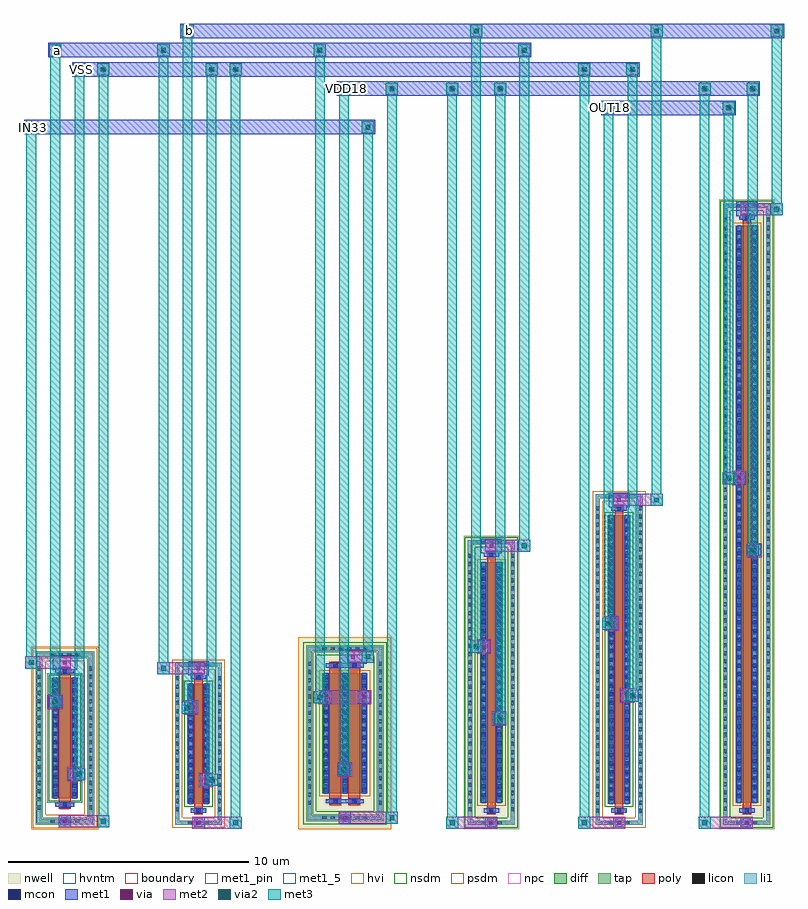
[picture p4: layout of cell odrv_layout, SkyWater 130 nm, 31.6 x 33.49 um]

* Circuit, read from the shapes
.subckt odrv_layout IN33 OUT18 VDD18 VSS a b
XM1 VSS IN33 a VSS sky130_fd_pr__nfet_g5v0d10v5 w=5 l=0.5
XM2 VSS a b VSS sky130_fd_pr__nfet_01v8 w=5 l=0.35
XM3 VSS b OUT18 VSS sky130_fd_pr__nfet_01v8 w=12 l=0.35
XM4 VDD18 IN33 a VDD18 sky130_fd_pr__pfet_g5v0d10v5 w=5 l=0.5 m=2
XM5 VDD18 a b VDD18 sky130_fd_pr__pfet_01v8 w=10 l=0.35
XM6 VDD18 b OUT18 VDD18 sky130_fd_pr__pfet_01v8 w=24 l=0.35
.ends

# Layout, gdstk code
import gdstk
lib = gdstk.Library(unit=1e-6, precision=1e-09)
def R(c, l, rs):  # rectangles x0, y0, x1, y1
    for r in rs: c.add(gdstk.rectangle(r[:2], r[2:], *l))
def A(c, l, x, y, w, h, nx, ny, dx, dy):  # array of equal rectangles
    R(c, l, [(x+i*dx, y+j*dy, x+i*dx+w, y+j*dy+h) for i in range(nx) for j in range(ny)])
nwell = (64, 20)
diff = (65, 20)
tap = (65, 44)
poly = (66, 20)
licon = (66, 44)
li1 = (67, 20)
mcon = (67, 44)
met1_5 = (68, 5)
met1_pin = (68, 16)
met1 = (68, 20)
via = (68, 44)
met2 = (69, 20)
via2 = (69, 44)
met3 = (70, 20)
hvi = (75, 20)
nsdm = (93, 44)
psdm = (94, 20)
npc = (95, 20)
hvntm = (125, 20)
boundary = (235, 4)

sky130_fd_pr__nfet_g5v0d = lib.new_cell('sky130_fd_pr__nfet_g5v0d10v5_K6WTJS')
R(sky130_fd_pr__nfet_g5v0d, diff, [(-0.54,-2.5,0.54,2.5)])
R(sky130_fd_pr__nfet_g5v0d, tap, [(-1.22,-3.61,1.22,-3.32), (-1.22,-3.32,-0.93,3.32), (0.93,-3.32,1.22,3.32), (-1.22,3.32,1.22,3.61)])
R(sky130_fd_pr__nfet_g5v0d, poly, [(-0.25,-2.94,0.25,2.94)])
A(sky130_fd_pr__nfet_g5v0d, licon, -0.595, -3.55, 0.17, 0.17, 4, 2, 0.34, 6.93)
A(sky130_fd_pr__nfet_g5v0d, licon, -1.16, -2.975, 0.17, 0.17, 1, 18, 0, 0.34)
A(sky130_fd_pr__nfet_g5v0d, licon, 0.99, -2.975, 0.17, 0.17, 1, 18, 0, 0.34)
A(sky130_fd_pr__nfet_g5v0d, licon, -0.48, -2.295, 0.17, 0.17, 1, 14, 0, 0.34)
A(sky130_fd_pr__nfet_g5v0d, licon, 0.31, -2.295, 0.17, 0.17, 1, 14, 0, 0.34)
R(sky130_fd_pr__nfet_g5v0d, licon, [(-0.085,-2.86,0.085,-2.69), (-0.085,2.69,0.085,2.86)])
R(sky130_fd_pr__nfet_g5v0d, li1, [(-1.16,-3.55,1.16,-3.38), (-1.16,-3.38,-0.99,3.38), (0.99,-3.38,1.16,3.38), (-0.395,-2.86,0.395,-2.69), (-0.48,-2.52,-0.31,2.52), (0.31,-2.52,0.48,2.52), (-0.395,2.69,0.395,2.86), (-1.16,3.38,1.16,3.55)])
A(sky130_fd_pr__nfet_g5v0d, mcon, -0.48, -2.425, 0.17, 0.17, 1, 14, 0, 0.36)
A(sky130_fd_pr__nfet_g5v0d, mcon, 0.31, -2.425, 0.17, 0.17, 1, 14, 0, 0.36)
R(sky130_fd_pr__nfet_g5v0d, mcon, [(-0.085,-2.86,0.085,-2.69), (-0.085,2.69,0.085,2.86)])
R(sky130_fd_pr__nfet_g5v0d, met1, [(-0.23,-2.89,0.23,-2.86), (-0.395,-2.86,0.395,-2.69), (-0.23,-2.69,0.23,-2.66), (-0.51,-2.5,-0.28,2.5), (0.28,-2.5,0.51,2.5), (-0.23,2.66,0.23,2.69), (-0.395,2.69,0.395,2.86), (-0.23,2.86,0.23,2.89)])
R(sky130_fd_pr__nfet_g5v0d, hvi, [(-1.405,-3.795,1.405,3.795)])
R(sky130_fd_pr__nfet_g5v0d, nsdm, [(-0.665,-2.625,0.665,2.625)])
R(sky130_fd_pr__nfet_g5v0d, psdm, [(-1.345,-3.735,1.345,-3.195), (-1.345,-3.195,-0.805,3.195), (0.805,-3.195,1.345,3.195), (-1.345,3.195,1.345,3.735)])
R(sky130_fd_pr__nfet_g5v0d, npc, [(-0.185,-2.96,0.185,-2.59), (-0.185,2.59,0.185,2.96)])
R(sky130_fd_pr__nfet_g5v0d, hvntm, [(-0.725,-2.685,0.725,2.685)])
R(sky130_fd_pr__nfet_g5v0d, boundary, [(-1.075,-3.465,1.075,3.465)])
sky130_fd_pr__nfet_g5v0d.add(gdstk.Label('B', (0,-3.465), layer=67, texttype=5))
sky130_fd_pr__nfet_g5v0d.add(gdstk.Label('D', (-0.395,0), layer=67, texttype=5))
sky130_fd_pr__nfet_g5v0d.add(gdstk.Label('S', (0.395,0), layer=67, texttype=5))
sky130_fd_pr__nfet_g5v0d.add(gdstk.Label('G', (0,2.775), layer=67, texttype=5))

sky130_fd_pr__pfet_g5v0d = lib.new_cell('sky130_fd_pr__pfet_g5v0d10v5_T5LBLN')
R(sky130_fd_pr__pfet_g5v0d, nwell, [(-1.935,-3.985,1.935,3.985)])
R(sky130_fd_pr__pfet_g5v0d, diff, [(-0.935,-2.5,0.935,2.5)])
R(sky130_fd_pr__pfet_g5v0d, tap, [(-1.605,-3.655,1.605,-3.365), (-1.605,-3.365,-1.315,3.365), (1.315,-3.365,1.605,3.365), (-1.605,3.365,1.605,3.655)])
R(sky130_fd_pr__pfet_g5v0d, poly, [(-0.645,-2.985,-0.145,2.985), (0.145,-2.985,0.645,2.985)])
A(sky130_fd_pr__pfet_g5v0d, licon, -0.935, -3.595, 0.17, 0.17, 6, 2, 0.34, 7.02)
A(sky130_fd_pr__pfet_g5v0d, licon, -1.545, -2.975, 0.17, 0.17, 1, 18, 0, 0.34)
A(sky130_fd_pr__pfet_g5v0d, licon, 1.375, -2.975, 0.17, 0.17, 1, 18, 0, 0.34)
A(sky130_fd_pr__pfet_g5v0d, licon, -0.875, -2.295, 0.17, 0.17, 3, 14, 0.79, 0.34)
R(sky130_fd_pr__pfet_g5v0d, licon, [(-0.48,-2.905,-0.31,-2.735), (0.31,-2.905,0.48,-2.735), (-0.48,2.735,-0.31,2.905), (0.31,2.735,0.48,2.905)])
A(sky130_fd_pr__pfet_g5v0d, li1, -0.875, -2.52, 0.17, 5.04, 3, 1, 0.79, 0)
R(sky130_fd_pr__pfet_g5v0d, li1, [(-1.545,-3.595,1.545,-3.425), (-1.545,-3.425,-1.375,3.425), (1.375,-3.425,1.545,3.425), (-0.79,-2.905,0.79,-2.735), (-0.79,2.735,0.79,2.905), (-1.545,3.425,1.545,3.595)])
A(sky130_fd_pr__pfet_g5v0d, mcon, -0.875, -2.425, 0.17, 0.17, 3, 14, 0.79, 0.36)
R(sky130_fd_pr__pfet_g5v0d, mcon, [(-0.48,-2.905,-0.31,-2.735), (0.31,-2.905,0.48,-2.735), (-0.48,2.735,-0.31,2.905), (0.31,2.735,0.48,2.905)])
A(sky130_fd_pr__pfet_g5v0d, met1, -0.905, -2.5, 0.23, 5, 3, 1, 0.79, 0)
R(sky130_fd_pr__pfet_g5v0d, met1, [(-0.625,-2.935,-0.165,-2.905), (0.165,-2.935,0.625,-2.905), (-0.79,-2.905,0.79,-2.735), (-0.625,-2.735,-0.165,-2.705), (0.165,-2.735,0.625,-2.705), (-0.625,2.705,-0.165,2.735), (0.165,2.705,0.625,2.735), (-0.79,2.735,0.79,2.905), (-0.625,2.905,-0.165,2.935), (0.165,2.905,0.625,2.935)])
R(sky130_fd_pr__pfet_g5v0d, hvi, [(-1.935,-3.985,1.935,3.985)])
R(sky130_fd_pr__pfet_g5v0d, nsdm, [(-1.73,-3.78,1.73,-3.24), (-1.73,-3.24,-1.19,3.24), (1.19,-3.24,1.73,3.24), (-1.73,3.24,1.73,3.78)])
R(sky130_fd_pr__pfet_g5v0d, psdm, [(-1.06,-2.625,1.06,2.625)])
R(sky130_fd_pr__pfet_g5v0d, npc, [(-0.58,-3.005,-0.21,-2.635), (0.21,-3.005,0.58,-2.635), (-0.58,2.635,-0.21,3.005), (0.21,2.635,0.58,3.005)])
R(sky130_fd_pr__pfet_g5v0d, boundary, [(-1.46,-3.51,1.46,3.51)])
sky130_fd_pr__pfet_g5v0d.add(gdstk.Label('G', (0.395,2.82), layer=67, texttype=5))
sky130_fd_pr__pfet_g5v0d.add(gdstk.Label('G', (-0.395,2.82), layer=67, texttype=5))
sky130_fd_pr__pfet_g5v0d.add(gdstk.Label('B', (0,-3.51), layer=67, texttype=5))
sky130_fd_pr__pfet_g5v0d.add(gdstk.Label('D0', (-0.79,0), layer=67, texttype=5))
sky130_fd_pr__pfet_g5v0d.add(gdstk.Label('S1', (0,0), layer=67, texttype=5))

sky130_fd_pr__nfet_01v8_ = lib.new_cell('sky130_fd_pr__nfet_01v8_M2T339')
R(sky130_fd_pr__nfet_01v8_, diff, [(-0.465,-2.5,0.465,2.5)])
R(sky130_fd_pr__nfet_01v8_, tap, [(-0.975,-3.37,0.975,-3.2), (-0.975,-3.2,-0.805,3.2), (0.805,-3.2,0.975,3.2), (-0.975,3.2,0.975,3.37)])
R(sky130_fd_pr__nfet_01v8_, poly, [(-0.175,-2.94,0.175,2.94)])
A(sky130_fd_pr__nfet_01v8_, licon, -0.425, -3.37, 0.17, 0.17, 3, 2, 0.34, 6.57)
A(sky130_fd_pr__nfet_01v8_, licon, -0.975, -2.805, 0.17, 0.17, 1, 17, 0, 0.34)
A(sky130_fd_pr__nfet_01v8_, licon, 0.805, -2.805, 0.17, 0.17, 1, 17, 0, 0.34)
A(sky130_fd_pr__nfet_01v8_, licon, -0.405, -2.295, 0.17, 0.17, 1, 14, 0, 0.34)
A(sky130_fd_pr__nfet_01v8_, licon, 0.235, -2.295, 0.17, 0.17, 1, 14, 0, 0.34)
R(sky130_fd_pr__nfet_01v8_, licon, [(-0.085,-2.86,0.085,-2.69), (-0.085,2.69,0.085,2.86)])
R(sky130_fd_pr__nfet_01v8_, li1, [(-0.975,-3.37,0.975,-3.2), (-0.975,-3.2,-0.805,3.2), (0.805,-3.2,0.975,3.2), (-0.32,-2.86,0.32,-2.69), (-0.405,-2.52,-0.235,2.52), (0.235,-2.52,0.405,2.52), (-0.32,2.69,0.32,2.86), (-0.975,3.2,0.975,3.37)])
A(sky130_fd_pr__nfet_01v8_, mcon, -0.405, -2.425, 0.17, 0.17, 1, 14, 0, 0.36)
A(sky130_fd_pr__nfet_01v8_, mcon, 0.235, -2.425, 0.17, 0.17, 1, 14, 0, 0.36)
R(sky130_fd_pr__nfet_01v8_, mcon, [(-0.085,-2.86,0.085,-2.69), (-0.085,2.69,0.085,2.86)])
R(sky130_fd_pr__nfet_01v8_, met1, [(-0.155,-2.89,0.155,-2.86), (-0.32,-2.86,0.32,-2.69), (-0.155,-2.69,0.155,-2.66), (-0.435,-2.5,-0.205,2.5), (0.205,-2.5,0.435,2.5), (-0.155,2.66,0.155,2.69), (-0.32,2.69,0.32,2.86), (-0.155,2.86,0.155,2.89)])
R(sky130_fd_pr__nfet_01v8_, nsdm, [(-0.59,-2.625,0.59,2.625)])
R(sky130_fd_pr__nfet_01v8_, psdm, [(-1.1,-3.495,1.1,-3.075), (-1.1,-3.075,-0.68,3.075), (0.68,-3.075,1.1,3.075), (-1.1,3.075,1.1,3.495)])
R(sky130_fd_pr__nfet_01v8_, npc, [(-0.185,-2.96,0.185,-2.59), (-0.185,2.59,0.185,2.96)])
R(sky130_fd_pr__nfet_01v8_, boundary, [(-0.89,-3.285,0.89,3.285)])
sky130_fd_pr__nfet_01v8_.add(gdstk.Label('B', (0,-3.285), layer=67, texttype=5))
sky130_fd_pr__nfet_01v8_.add(gdstk.Label('D', (-0.32,0), layer=67, texttype=5))
sky130_fd_pr__nfet_01v8_.add(gdstk.Label('S', (0.32,0), layer=67, texttype=5))
sky130_fd_pr__nfet_01v8_.add(gdstk.Label('G', (0,2.775), layer=67, texttype=5))

sky130_fd_pr__pfet_01v8_ = lib.new_cell('sky130_fd_pr__pfet_01v8_66B4UM')
R(sky130_fd_pr__pfet_01v8_, nwell, [(-1.155,-6.095,1.155,6.095)])
R(sky130_fd_pr__pfet_01v8_, diff, [(-0.465,-5,0.465,5)])
R(sky130_fd_pr__pfet_01v8_, tap, [(-0.975,-5.915,0.975,-5.745), (-0.975,-5.745,-0.805,5.745), (0.805,-5.745,0.975,5.745), (-0.975,5.745,0.975,5.915)])
R(sky130_fd_pr__pfet_01v8_, poly, [(-0.175,-5.485,0.175,5.485)])
A(sky130_fd_pr__pfet_01v8_, licon, -0.425, -5.915, 0.17, 0.17, 3, 2, 0.34, 11.66)
A(sky130_fd_pr__pfet_01v8_, licon, -0.975, -5.355, 0.17, 0.17, 1, 32, 0, 0.34)
A(sky130_fd_pr__pfet_01v8_, licon, 0.805, -5.355, 0.17, 0.17, 1, 32, 0, 0.34)
A(sky130_fd_pr__pfet_01v8_, licon, -0.405, -4.845, 0.17, 0.17, 1, 29, 0, 0.34)
A(sky130_fd_pr__pfet_01v8_, licon, 0.235, -4.845, 0.17, 0.17, 1, 29, 0, 0.34)
R(sky130_fd_pr__pfet_01v8_, licon, [(-0.085,-5.405,0.085,-5.235), (-0.085,5.235,0.085,5.405)])
R(sky130_fd_pr__pfet_01v8_, li1, [(-0.975,-5.915,0.975,-5.745), (-0.975,-5.745,-0.805,5.745), (0.805,-5.745,0.975,5.745), (-0.32,-5.405,0.32,-5.235), (-0.405,-5.02,-0.235,5.02), (0.235,-5.02,0.405,5.02), (-0.32,5.235,0.32,5.405), (-0.975,5.745,0.975,5.915)])
A(sky130_fd_pr__pfet_01v8_, mcon, -0.405, -4.765, 0.17, 0.17, 1, 27, 0, 0.36)
A(sky130_fd_pr__pfet_01v8_, mcon, 0.235, -4.765, 0.17, 0.17, 1, 27, 0, 0.36)
R(sky130_fd_pr__pfet_01v8_, mcon, [(-0.085,-5.405,0.085,-5.235), (-0.085,5.235,0.085,5.405)])
R(sky130_fd_pr__pfet_01v8_, met1, [(-0.155,-5.435,0.155,-5.405), (-0.32,-5.405,0.32,-5.235), (-0.155,-5.235,0.155,-5.205), (-0.435,-5,-0.205,5), (0.205,-5,0.435,5), (-0.155,5.205,0.155,5.235), (-0.32,5.235,0.32,5.405), (-0.155,5.405,0.155,5.435)])
R(sky130_fd_pr__pfet_01v8_, nsdm, [(-1.1,-6.04,1.1,-5.62), (-1.1,-5.62,-0.68,5.62), (0.68,-5.62,1.1,5.62), (-1.1,5.62,1.1,6.04)])
R(sky130_fd_pr__pfet_01v8_, psdm, [(-0.59,-5.125,0.59,5.125)])
R(sky130_fd_pr__pfet_01v8_, npc, [(-0.185,-5.505,0.185,-5.135), (-0.185,5.135,0.185,5.505)])
R(sky130_fd_pr__pfet_01v8_, boundary, [(-0.89,-5.83,0.89,5.83)])
sky130_fd_pr__pfet_01v8_.add(gdstk.Label('B', (0,-5.83), layer=67, texttype=5))
sky130_fd_pr__pfet_01v8_.add(gdstk.Label('D', (-0.32,0), layer=67, texttype=5))
sky130_fd_pr__pfet_01v8_.add(gdstk.Label('S', (0.32,0), layer=67, texttype=5))
sky130_fd_pr__pfet_01v8_.add(gdstk.Label('G', (0,5.32), layer=67, texttype=5))

c_sky130_fd_pr__pfet_01v8_ = lib.new_cell('sky130_fd_pr__pfet_01v8_4WRPEJ')
R(c_sky130_fd_pr__pfet_01v8_, nwell, [(-1.155,-13.095,1.155,13.095)])
R(c_sky130_fd_pr__pfet_01v8_, diff, [(-0.465,-12,0.465,12)])
R(c_sky130_fd_pr__pfet_01v8_, tap, [(-0.975,-12.915,0.975,-12.745), (-0.975,-12.745,-0.805,12.745), (0.805,-12.745,0.975,12.745), (-0.975,12.745,0.975,12.915)])
R(c_sky130_fd_pr__pfet_01v8_, poly, [(-0.175,-12.485,0.175,12.485)])
A(c_sky130_fd_pr__pfet_01v8_, licon, -0.425, -12.915, 0.17, 0.17, 3, 2, 0.34, 25.66)
A(c_sky130_fd_pr__pfet_01v8_, licon, -0.975, -12.325, 0.17, 0.17, 1, 73, 0, 0.34)
A(c_sky130_fd_pr__pfet_01v8_, licon, 0.805, -12.325, 0.17, 0.17, 1, 73, 0, 0.34)
A(c_sky130_fd_pr__pfet_01v8_, licon, -0.405, -11.815, 0.17, 0.17, 1, 70, 0, 0.34)
A(c_sky130_fd_pr__pfet_01v8_, licon, 0.235, -11.815, 0.17, 0.17, 1, 70, 0, 0.34)
R(c_sky130_fd_pr__pfet_01v8_, licon, [(-0.085,-12.405,0.085,-12.235), (-0.085,12.235,0.085,12.405)])
R(c_sky130_fd_pr__pfet_01v8_, li1, [(-0.975,-12.915,0.975,-12.745), (-0.975,-12.745,-0.805,12.745), (0.805,-12.745,0.975,12.745), (-0.32,-12.405,0.32,-12.235), (-0.405,-12.02,-0.235,12.02), (0.235,-12.02,0.405,12.02), (-0.32,12.235,0.32,12.405), (-0.975,12.745,0.975,12.915)])
A(c_sky130_fd_pr__pfet_01v8_, mcon, -0.405, -11.785, 0.17, 0.17, 1, 66, 0, 0.36)
A(c_sky130_fd_pr__pfet_01v8_, mcon, 0.235, -11.785, 0.17, 0.17, 1, 66, 0, 0.36)
R(c_sky130_fd_pr__pfet_01v8_, mcon, [(-0.085,-12.405,0.085,-12.235), (-0.085,12.235,0.085,12.405)])
R(c_sky130_fd_pr__pfet_01v8_, met1, [(-0.155,-12.435,0.155,-12.405), (-0.32,-12.405,0.32,-12.235), (-0.155,-12.235,0.155,-12.205), (-0.435,-12,-0.205,12), (0.205,-12,0.435,12), (-0.155,12.205,0.155,12.235), (-0.32,12.235,0.32,12.405), (-0.155,12.405,0.155,12.435)])
R(c_sky130_fd_pr__pfet_01v8_, nsdm, [(-1.1,-13.04,1.1,-12.62), (-1.1,-12.62,-0.68,12.62), (0.68,-12.62,1.1,12.62), (-1.1,12.62,1.1,13.04)])
R(c_sky130_fd_pr__pfet_01v8_, psdm, [(-0.59,-12.125,0.59,12.125)])
R(c_sky130_fd_pr__pfet_01v8_, npc, [(-0.185,-12.505,0.185,-12.135), (-0.185,12.135,0.185,12.505)])
R(c_sky130_fd_pr__pfet_01v8_, boundary, [(-0.89,-12.83,0.89,12.83)])
c_sky130_fd_pr__pfet_01v8_.add(gdstk.Label('B', (0,-12.83), layer=67, texttype=5))
c_sky130_fd_pr__pfet_01v8_.add(gdstk.Label('D', (-0.32,0), layer=67, texttype=5))
c_sky130_fd_pr__pfet_01v8_.add(gdstk.Label('S', (0.32,0), layer=67, texttype=5))
c_sky130_fd_pr__pfet_01v8_.add(gdstk.Label('G', (0,12.32), layer=67, texttype=5))

c_sky130_fd_pr__nfet_01v8_ = lib.new_cell('sky130_fd_pr__nfet_01v8_JCK2Y9')
R(c_sky130_fd_pr__nfet_01v8_, diff, [(-0.465,-6,0.465,6)])
R(c_sky130_fd_pr__nfet_01v8_, tap, [(-0.975,-6.87,0.975,-6.7), (-0.975,-6.7,-0.805,6.7), (0.805,-6.7,0.975,6.7), (-0.975,6.7,0.975,6.87)])
R(c_sky130_fd_pr__nfet_01v8_, poly, [(-0.175,-6.44,0.175,6.44)])
A(c_sky130_fd_pr__nfet_01v8_, licon, -0.425, -6.87, 0.17, 0.17, 3, 2, 0.34, 13.57)
A(c_sky130_fd_pr__nfet_01v8_, licon, -0.975, -6.375, 0.17, 0.17, 1, 38, 0, 0.34)
A(c_sky130_fd_pr__nfet_01v8_, licon, 0.805, -6.375, 0.17, 0.17, 1, 38, 0, 0.34)
A(c_sky130_fd_pr__nfet_01v8_, licon, -0.405, -5.865, 0.17, 0.17, 1, 35, 0, 0.34)
A(c_sky130_fd_pr__nfet_01v8_, licon, 0.235, -5.865, 0.17, 0.17, 1, 35, 0, 0.34)
R(c_sky130_fd_pr__nfet_01v8_, licon, [(-0.085,-6.36,0.085,-6.19), (-0.085,6.19,0.085,6.36)])
R(c_sky130_fd_pr__nfet_01v8_, li1, [(-0.975,-6.87,0.975,-6.7), (-0.975,-6.7,-0.805,6.7), (0.805,-6.7,0.975,6.7), (-0.32,-6.36,0.32,-6.19), (-0.405,-6.02,-0.235,6.02), (0.235,-6.02,0.405,6.02), (-0.32,6.19,0.32,6.36), (-0.975,6.7,0.975,6.87)])
A(c_sky130_fd_pr__nfet_01v8_, mcon, -0.405, -5.845, 0.17, 0.17, 1, 33, 0, 0.36)
A(c_sky130_fd_pr__nfet_01v8_, mcon, 0.235, -5.845, 0.17, 0.17, 1, 33, 0, 0.36)
R(c_sky130_fd_pr__nfet_01v8_, mcon, [(-0.085,-6.36,0.085,-6.19), (-0.085,6.19,0.085,6.36)])
R(c_sky130_fd_pr__nfet_01v8_, met1, [(-0.155,-6.39,0.155,-6.36), (-0.32,-6.36,0.32,-6.19), (-0.155,-6.19,0.155,-6.16), (-0.435,-6,-0.205,6), (0.205,-6,0.435,6), (-0.155,6.16,0.155,6.19), (-0.32,6.19,0.32,6.36), (-0.155,6.36,0.155,6.39)])
R(c_sky130_fd_pr__nfet_01v8_, nsdm, [(-0.59,-6.125,0.59,6.125)])
R(c_sky130_fd_pr__nfet_01v8_, psdm, [(-1.1,-6.995,1.1,-6.575), (-1.1,-6.575,-0.68,6.575), (0.68,-6.575,1.1,6.575), (-1.1,6.575,1.1,6.995)])
R(c_sky130_fd_pr__nfet_01v8_, npc, [(-0.185,-6.46,0.185,-6.09), (-0.185,6.09,0.185,6.46)])
R(c_sky130_fd_pr__nfet_01v8_, boundary, [(-0.89,-6.785,0.89,6.785)])
c_sky130_fd_pr__nfet_01v8_.add(gdstk.Label('B', (0,-6.785), layer=67, texttype=5))
c_sky130_fd_pr__nfet_01v8_.add(gdstk.Label('D', (-0.32,0), layer=67, texttype=5))
c_sky130_fd_pr__nfet_01v8_.add(gdstk.Label('S', (0.32,0), layer=67, texttype=5))
c_sky130_fd_pr__nfet_01v8_.add(gdstk.Label('G', (0,6.275), layer=67, texttype=5))

odrv_layout = lib.new_cell('odrv_layout')
A(odrv_layout, li1, 18.965, 0.095, 0.34, 0.34, 3, 1, 5.31, 0)
R(odrv_layout, li1, [(6.785,0.095,7.125,0.435), (1.23,0.155,1.57,0.495), (12.875,0.305,13.215,0.645)])
A(odrv_layout, mcon, 19.05, 0.18, 0.17, 0.17, 3, 1, 5.31, 0)
R(odrv_layout, mcon, [(6.87,0.18,7.04,0.35), (1.315,0.24,1.485,0.41), (12.96,0.39,13.13,0.56)])
R(odrv_layout, met1_5, [(1,32.19,1.2,32.59), (6.5,32.99,6.7,33.39)])
R(odrv_layout, met1_pin, [(0,28.99,0.2,29.39), (24,29.79,24.2,30.19), (13,30.59,13.2,30.99), (2,31.39,2.2,31.79)])
A(odrv_layout, met1, 18.885, 0.015, 0.5, 0.5, 3, 1, 5.31, 0)
R(odrv_layout, met1, [(6.705,0.015,7.205,0.515), (1.15,0.075,1.65,0.575), (12.795,0.225,13.295,0.725), (7.025,1.8,7.525,2.3), (1.545,2.04,2.045,2.54), (12.795,2.235,13.295,2.735), (19.205,4.345,19.705,4.845), (6.385,4.8,6.885,5.3), (0.755,5.04,1.255,5.54), (12.005,5.235,12.505,5.735), (13.585,5.235,14.085,5.735), (24.515,5.3,25.015,5.8), (6.52,6.39,7.39,6.99), (0.89,6.63,1.91,7.23), (12.82,6.87,13.95,7.47), (18.565,7.345,19.065,7.845), (23.875,8.3,24.375,8.8), (29.825,11.345,30.325,11.845), (18.7,11.48,19.57,12.08), (24.01,13.39,24.88,13.99), (29.185,14.345,29.685,14.845), (29.32,25.48,30.19,26.08), (-0.3,28.89,14.3,29.49), (23.7,29.69,29.3,30.29), (12.7,30.49,30.3,31.09), (1.7,31.29,25.3,31.89), (0.7,32.09,20.8,32.69), (6.2,32.89,31.3,33.49)])
A(odrv_layout, via, 19.06, 0.19, 0.15, 0.15, 3, 1, 5.31, 0)
R(odrv_layout, via, [(6.88,0.19,7.03,0.34), (1.325,0.25,1.475,0.4), (12.97,0.4,13.12,0.55), (7.2,1.975,7.35,2.125), (1.72,2.215,1.87,2.365), (12.97,2.41,13.12,2.56), (19.38,4.52,19.53,4.67), (6.56,4.975,6.71,5.125), (0.93,5.215,1.08,5.365), (12.18,5.41,12.33,5.56), (13.76,5.41,13.91,5.56), (24.69,5.475,24.84,5.625), (6.88,6.615,7.03,6.765), (1.325,6.855,1.475,7.005), (13.31,7.095,13.46,7.245), (18.74,7.52,18.89,7.67), (24.05,8.475,24.2,8.625), (30,11.52,30.15,11.67), (19.06,11.705,19.21,11.855), (24.37,13.615,24.52,13.765), (29.36,14.52,29.51,14.67), (29.68,25.705,29.83,25.855), (-0.075,29.115,0.075,29.265), (13.925,29.115,14.075,29.265), (23.925,29.915,24.075,30.065), (28.925,29.915,29.075,30.065), (12.925,30.715,13.075,30.865), (14.925,30.715,15.075,30.865), (17.425,30.715,17.575,30.865), (19.425,30.715,19.575,30.865), (27.925,30.715,28.075,30.865), (29.925,30.715,30.075,30.865), (1.925,31.515,2.075,31.665), (2.925,31.515,3.075,31.665), (7.425,31.515,7.575,31.665), (8.425,31.515,8.575,31.665), (22.925,31.515,23.075,31.665), (24.925,31.515,25.075,31.665), (0.925,32.315,1.075,32.465), (5.425,32.315,5.575,32.465), (11.925,32.315,12.075,32.465), (20.425,32.315,20.575,32.465), (6.425,33.115,6.575,33.265), (18.425,33.115,18.575,33.265), (25.925,33.115,26.075,33.265), (30.925,33.115,31.075,33.265)])
R(odrv_layout, met2, [(6.705,0.015,8.75,0.515), (17.25,0.015,19.385,0.515), (22.75,0.015,24.695,0.515), (27.75,0.015,30.005,0.515), (1.15,0.075,3.25,0.575), (12.795,0.225,15.25,0.725), (6.975,1.75,7.575,1.8), (6.975,1.8,7.75,2.3), (1.495,1.99,2.095,2.04), (1.495,2.04,2.25,2.54), (12.745,2.185,13.345,2.785), (6.975,2.3,7.575,2.35), (1.495,2.54,2.095,2.59), (19.155,4.295,19.755,4.895), (6.335,4.75,6.935,4.8), (6.25,4.8,6.935,5.3), (0.705,4.99,1.305,5.59), (11.955,5.185,14.135,5.235), (11.75,5.235,14.135,5.735), (24.465,5.25,25.065,5.3), (6.335,5.3,6.935,5.35), (24.465,5.3,25.25,5.8), (11.955,5.735,14.135,5.785), (24.465,5.8,25.065,5.85), (5.25,6.44,7.205,6.94), (-0.25,6.68,1.65,7.18), (13.135,6.92,14.25,7.42), (18.515,7.295,19.115,7.345), (18.25,7.345,19.115,7.845), (18.515,7.845,19.115,7.895), (23.825,8.25,24.425,8.3), (23.75,8.3,24.425,8.8), (23.825,8.8,24.425,8.85), (29.775,11.295,30.375,11.345), (29.75,11.345,30.375,11.845), (18.885,11.53,20.75,12.03), (29.775,11.845,30.375,11.895), (24.195,13.44,26.25,13.94), (29.135,14.295,29.735,14.345), (28.75,14.345,29.735,14.845), (29.135,14.845,29.735,14.895), (29.505,25.53,31.25,26.03), (-0.25,28.94,0.25,29.44), (13.75,28.94,14.25,29.44), (23.75,29.74,24.25,30.24), (28.75,29.74,29.25,30.24), (12.75,30.54,13.25,31.04), (14.75,30.54,15.25,31.04), (17.25,30.54,17.75,31.04), (19.25,30.54,19.75,31.04), (27.75,30.54,28.25,31.04), (29.75,30.54,30.25,31.04), (1.75,31.34,2.25,31.84), (2.75,31.34,3.25,31.84), (7.25,31.34,7.75,31.84), (8.25,31.34,8.75,31.84), (22.75,31.34,23.25,31.84), (24.75,31.34,25.25,31.84), (0.75,32.14,1.25,32.64), (5.25,32.14,5.75,32.64), (11.75,32.14,12.25,32.64), (20.25,32.14,20.75,32.64), (6.25,32.94,6.75,33.44), (18.25,32.94,18.75,33.44), (25.75,32.94,26.25,33.44), (30.75,32.94,31.25,33.44)])
R(odrv_layout, via2, [(8.4,0.165,8.6,0.365), (17.4,0.165,17.6,0.365), (22.9,0.165,23.1,0.365), (27.9,0.165,28.1,0.365), (2.9,0.225,3.1,0.425), (14.9,0.375,15.1,0.575), (7.4,1.95,7.6,2.15), (1.9,2.19,2.1,2.39), (12.9,2.385,13.1,2.585), (19.4,4.495,19.6,4.695), (6.4,4.95,6.6,5.15), (0.9,5.19,1.1,5.39), (11.9,5.385,12.1,5.585), (24.9,5.45,25.1,5.65), (5.4,6.59,5.6,6.79), (-0.1,6.83,0.1,7.03), (13.9,7.07,14.1,7.27), (18.4,7.495,18.6,7.695), (23.9,8.45,24.1,8.65), (29.9,11.495,30.1,11.695), (20.4,11.68,20.6,11.88), (25.9,13.59,26.1,13.79), (28.9,14.495,29.1,14.695), (30.9,25.68,31.1,25.88), (-0.1,29.09,0.1,29.29), (13.9,29.09,14.1,29.29), (23.9,29.89,24.1,30.09), (28.9,29.89,29.1,30.09), (12.9,30.69,13.1,30.89), (14.9,30.69,15.1,30.89), (17.4,30.69,17.6,30.89), (19.4,30.69,19.6,30.89), (27.9,30.69,28.1,30.89), (29.9,30.69,30.1,30.89), (1.9,31.49,2.1,31.69), (2.9,31.49,3.1,31.69), (7.4,31.49,7.6,31.69), (8.4,31.49,8.6,31.69), (22.9,31.49,23.1,31.69), (24.9,31.49,25.1,31.69), (0.9,32.29,1.1,32.49), (5.4,32.29,5.6,32.49), (11.9,32.29,12.1,32.49), (20.4,32.29,20.6,32.49), (6.4,33.09,6.6,33.29), (18.4,33.09,18.6,33.29), (25.9,33.09,26.1,33.29), (30.9,33.09,31.1,33.29)])
R(odrv_layout, met3, [(8.25,0.015,8.75,0.515), (17.25,0.015,17.75,0.515), (22.75,0.015,23.25,0.515), (27.75,0.015,28.25,0.515), (2.75,0.075,3.25,0.575), (14.75,0.225,15.25,0.725), (8.3,0.515,8.7,31.34), (17.3,0.515,17.7,30.54), (22.8,0.515,23.2,31.34), (27.8,0.515,28.2,30.54), (2.8,0.575,3.2,31.34), (14.8,0.725,15.2,30.54), (7.25,1.8,7.75,2.3), (1.75,2.04,2.25,2.54), (12.75,2.235,13.25,2.735), (7.3,2.3,7.7,31.34), (1.8,2.54,2.2,31.34), (12.8,2.735,13.2,30.54), (19.25,4.345,19.75,4.845), (6.25,4.8,6.75,5.3), (19.3,4.845,19.7,30.54), (0.75,5.04,1.25,5.54), (11.75,5.235,12.25,5.735), (6.3,5.3,6.7,32.94), (24.75,5.3,25.25,5.8), (0.8,5.54,1.2,32.14), (11.8,5.735,12.2,32.14), (24.8,5.8,25.2,31.34), (5.25,6.44,5.75,6.94), (-0.25,6.68,0.25,7.18), (13.75,6.92,14.25,7.42), (5.3,6.94,5.7,32.14), (-0.2,7.18,0.2,28.94), (18.25,7.345,18.75,7.845), (13.8,7.42,14.2,28.94), (18.3,7.845,18.7,32.94), (23.75,8.3,24.25,8.8), (23.8,8.8,24.2,29.74), (29.75,11.345,30.25,11.845), (20.25,11.53,20.75,12.03), (29.8,11.845,30.2,30.54), (20.3,12.03,20.7,32.14), (25.75,13.44,26.25,13.94), (25.8,13.94,26.2,32.94), (28.75,14.345,29.25,14.845), (28.8,14.845,29.2,29.74), (30.75,25.53,31.25,26.03), (30.8,26.03,31.2,32.94), (-0.25,28.94,0.25,29.44), (13.75,28.94,14.25,29.44), (23.75,29.74,24.25,30.24), (28.75,29.74,29.25,30.24), (12.75,30.54,13.25,31.04), (14.75,30.54,15.25,31.04), (17.25,30.54,17.75,31.04), (19.25,30.54,19.75,31.04), (27.75,30.54,28.25,31.04), (29.75,30.54,30.25,31.04), (1.75,31.34,2.25,31.84), (2.75,31.34,3.25,31.84), (7.25,31.34,7.75,31.84), (8.25,31.34,8.75,31.84), (22.75,31.34,23.25,31.84), (24.75,31.34,25.25,31.84), (0.75,32.14,1.25,32.64), (5.25,32.14,5.75,32.64), (11.75,32.14,12.25,32.64), (20.25,32.14,20.75,32.64), (6.25,32.94,6.75,33.44), (18.25,32.94,18.75,33.44), (25.75,32.94,26.25,33.44), (30.75,32.94,31.25,33.44)])
odrv_layout.add(gdstk.Reference(sky130_fd_pr__nfet_g5v0d, (1.4,3.79)))
odrv_layout.add(gdstk.Reference(sky130_fd_pr__pfet_g5v0d, (13.045,3.985)))
odrv_layout.add(gdstk.Reference(sky130_fd_pr__nfet_01v8_, (6.955,3.55)))
odrv_layout.add(gdstk.Reference(sky130_fd_pr__pfet_01v8_, (19.135,6.095)))
odrv_layout.add(gdstk.Reference(c_sky130_fd_pr__pfet_01v8_, (29.755,13.095)))
odrv_layout.add(gdstk.Reference(c_sky130_fd_pr__nfet_01v8_, (24.445,7.05)))
odrv_layout.add(gdstk.Label('a', (1.1,32.39), layer=68, texttype=5))
odrv_layout.add(gdstk.Label('b', (6.6,33.19), layer=68, texttype=5))
odrv_layout.add(gdstk.Label('VSS', (2.1,31.59), layer=68, texttype=5))
odrv_layout.add(gdstk.Label('VDD18', (13.1,30.79), layer=68, texttype=5))
odrv_layout.add(gdstk.Label('OUT18', (24.1,29.99), layer=68, texttype=5))
odrv_layout.add(gdstk.Label('IN33', (0.1,29.19), layer=68, texttype=5))

lib.write_gds('odrv_layout.gds')
